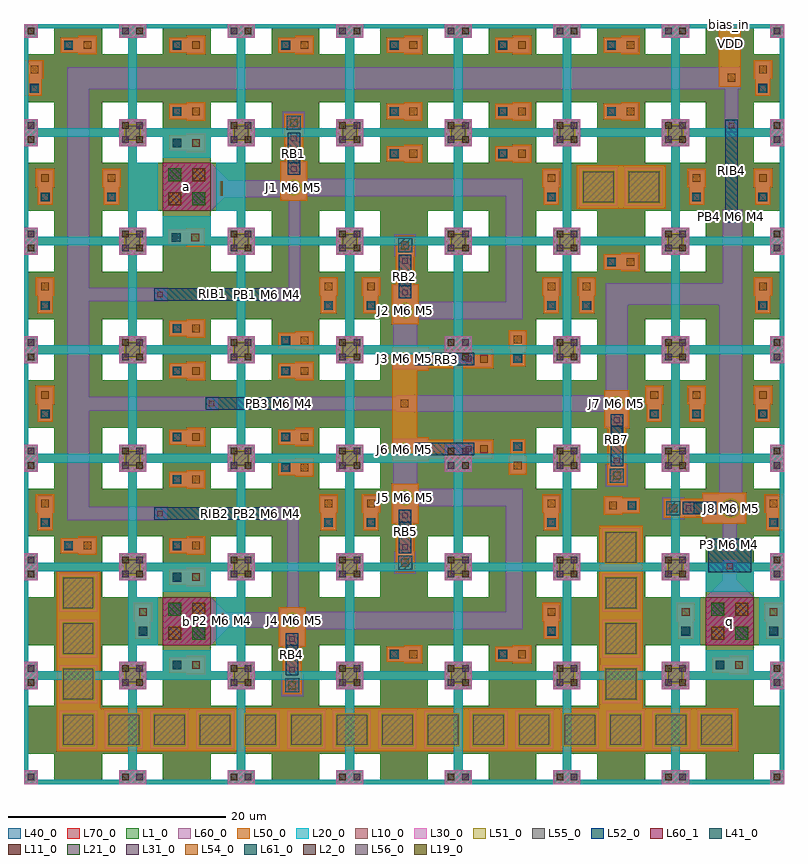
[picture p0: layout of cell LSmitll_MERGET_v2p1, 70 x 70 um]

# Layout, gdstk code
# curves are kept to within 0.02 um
from math import pi, radians
import gdstk
lib = gdstk.Library(unit=1e-6, precision=1e-09)
def R(c, l, rs):  # rectangles x0, y0, x1, y1
    for r in rs: c.add(gdstk.rectangle(r[:2], r[2:], *l))
def A(c, l, x, y, w, h, nx, ny, dx, dy):  # array of equal rectangles
    R(c, l, [(x+i*dx, y+j*dy, x+i*dx+w, y+j*dy+h) for i in range(nx) for j in range(ny)])
def P(c, l, *ps):  # polygons
    for p in ps: c.add(gdstk.Polygon(p, *l))
L1_0 = (1, 0)
L2_0 = (2, 0)
L10_0 = (10, 0)
L11_0 = (11, 0)
L19_0 = (19, 0)
L20_0 = (20, 0)
L21_0 = (21, 0)
L30_0 = (30, 0)
L31_0 = (31, 0)
L40_0 = (40, 0)
L41_0 = (41, 0)
L50_0 = (50, 0)
L51_0 = (51, 0)
L52_0 = (52, 0)
L54_0 = (54, 0)
L55_0 = (55, 0)
L56_0 = (56, 0)
L60_0 = (60, 0)
L60_1 = (60, 1)
L61_0 = (61, 0)
L70_0 = (70, 0)

ls_fakejj_3x3um = lib.new_cell('ls_fakeJJ_3x3um')
R(ls_fakejj_3x3um, L40_0, [(-2,-2,2,2)])
R(ls_fakejj_3x3um, L50_0, [(-2,-2,2,2)])
R(ls_fakejj_3x3um, L51_0, [(-1.5,-1.5,1.5,1.5)])
R(ls_fakejj_3x3um, L55_0, [(-1.4,-1.4,1.4,1.4)])
R(ls_fakejj_3x3um, L60_0, [(-1.75,-1.75,1.75,1.75)])

ls_conn_m4m5m6m7 = lib.new_cell('ls_conn_M4M5M6M7')
R(ls_conn_m4m5m6m7, L40_0, [(0,0,1.4,1.4)])
R(ls_conn_m4m5m6m7, L41_0, [(0.3,0.3,1.1,1.1)])
P(ls_conn_m4m5m6m7, L50_0, [(1.6,-0.15),(1.6,0),(0,0),(0,1.4),(1.6,1.4),(1.6,1.55),(3.3,1.55),(3.3,-0.15)])
R(ls_conn_m4m5m6m7, L54_0, [(2.1,0.35,2.8,1.05)])
R(ls_conn_m4m5m6m7, L60_0, [(0,0,3.15,1.4)])
R(ls_conn_m4m5m6m7, L61_0, [(0.35,0.35,1.05,1.05)])
R(ls_conn_m4m5m6m7, L70_0, [(0,0,1.4,1.4)])

ls_tr_m7 = lib.new_cell('ls_tr_m7')
P(ls_tr_m7, L70_0, [(0,0),(0,10),(1.25,10),(1.25,8.75),(0.4,8.75),(0.4,1.25),(1.25,1.25),(1.25,0.4),(2.8,0.4),(2.8,2.8),(0.4,2.8),(0.4,7.2),(2.8,7.2),(2.8,9.6),(1.25,9.6),(1.25,10),(7.2,10),(7.2,0.4),(8.75,0.4),(8.75,1.25),(9.6,1.25),(9.6,2.8),(7.2,2.8),(7.2,7.2),(9.6,7.2),(9.6,8.75),(8.75,8.75),(8.75,9.6),(7.2,9.6),(7.2,10),(10,10),(10,0)])

ls_conn_m5m6m7 = lib.new_cell('ls_conn_M5M6M7')
R(ls_conn_m5m6m7, L50_0, [(-0.5,-0.5,1.2,1.2)])
R(ls_conn_m5m6m7, L54_0, [(0,0,0.7,0.7)])
R(ls_conn_m5m6m7, L60_0, [(-0.65,-0.65,1.35,1.35)])
R(ls_conn_m5m6m7, L61_0, [(-0.3,-0.3,1,1)])
R(ls_conn_m5m6m7, L70_0, [(-0.65,-0.65,1.35,1.35)])

ls_jj154sg = lib.new_cell('ls_jj154sg')
R(ls_jj154sg, L41_0, [(-0.5,2.225,0.5,3.225)])
R(ls_jj154sg, L50_0, [(-1.25,-1.25,1.25,2.425), (-0.875,2.425,0.875,6.875)])
P(ls_jj154sg, L51_0, [(0,-0.72),(-0.275,-0.665),(-0.51,-0.51),(-0.665,-0.275),(-0.72,0),(-0.665,0.275),(-0.51,0.51),(-0.275,0.665),(0,0.72),(0.275,0.665),(0.51,0.51),(0.665,0.275),(0.72,0),(0.665,-0.275),(0.51,-0.51),(0.275,-0.665)])
R(ls_jj154sg, L52_0, [(-0.575,1.15,0.575,5.125)])
P(ls_jj154sg, L55_0, [(0,-0.57),(-0.22,-0.53),(-0.49,-0.32),(-0.57,0),(-0.49,0.32),(-0.32,0.48),(-0.22,0.53),(0,0.57),(0.22,0.53),(0.4,0.41),(0.49,0.32),(0.57,0),(0.49,-0.32),(0.22,-0.53)])
R(ls_jj154sg, L56_0, [(-0.26,1.42,0.26,1.94), (-0.26,4.34,0.26,4.86)])
R(ls_jj154sg, L60_0, [(-1.1,-1.1,1.1,2.325), (-0.725,3.95,0.725,6.725)])
ls_jj154sg.add(gdstk.Reference(ls_conn_m5m6m7, (-0.35,5.675)))

ls_jj095s = lib.new_cell('ls_jj095s')
R(ls_jj095s, L50_0, [(-1.1,-1.1,1.1,2.275), (-0.875,2.275,0.875,8.225)])
P(ls_jj095s, L51_0, [(0,-0.575),(-0.22,-0.53),(-0.405,-0.405),(-0.53,-0.22),(-0.575,0),(-0.53,0.22),(-0.405,0.405),(-0.22,0.53),(0,0.57),(0.22,0.53),(0.405,0.405),(0.53,0.22),(0.575,0),(0.53,-0.22),(0.405,-0.405),(0.22,-0.53)])
R(ls_jj095s, L52_0, [(-0.575,1,0.575,6.475)])
R(ls_jj095s, L54_0, [(-0.35,7,0.35,7.7)])
P(ls_jj095s, L55_0, [(0,-0.42),(-0.25,-0.35),(-0.35,-0.23),(-0.42,-0.08),(-0.42,0.09),(-0.35,0.24),(-0.25,0.36),(-0.16,0.41),(0,0.43),(0.16,0.41),(0.25,0.36),(0.35,0.24),(0.42,0.09),(0.42,-0.08),(0.3,-0.3),(0.16,-0.39)])
R(ls_jj095s, L56_0, [(-0.26,1.27,0.26,1.79), (-0.26,5.68,0.26,6.2)])
R(ls_jj095s, L60_0, [(-0.95,-0.95,0.95,2.175), (-0.725,5.3,0.725,8.075)])

ls_ib241 = lib.new_cell('ls_ib241')
R(ls_ib241, L52_0, [(-0.575,0,0.575,7.325)])
R(ls_ib241, L56_0, [(-0.26,0.29,0.26,0.81), (-0.26,6.53,0.26,7.05)])
R(ls_ib241, L60_0, [(-0.625,-0.1,0.625,1.175), (-0.625,6.15,0.625,7.425)])

ls_jj116sg = lib.new_cell('ls_jj116sg')
R(ls_jj116sg, L41_0, [(-0.5,2.125,0.5,3.125)])
R(ls_jj116sg, L50_0, [(-1.15,-1.15,1.15,2.325), (-0.875,2.325,0.875,7.575)])
P(ls_jj116sg, L51_0, [(0,-0.63),(-0.24,-0.58),(-0.445,-0.445),(-0.58,-0.24),(-0.63,0),(-0.58,0.24),(-0.445,0.445),(-0.24,0.58),(0,0.63),(0.24,0.58),(0.445,0.445),(0.58,0.24),(0.63,0),(0.58,-0.24),(0.445,-0.445),(0.24,-0.58)])
R(ls_jj116sg, L52_0, [(-0.575,1.05,0.575,5.825)])
R(ls_jj116sg, L54_0, [(-0.35,6.35,0.35,7.05)])
P(ls_jj116sg, L55_0, [(0,-0.48),(-0.18,-0.44),(-0.34,-0.34),(-0.44,-0.18),(-0.48,0),(-0.44,0.18),(-0.34,0.34),(-0.18,0.44),(0,0.48),(0.18,0.44),(0.34,0.34),(0.44,0.18),(0.48,0),(0.44,-0.18),(0.34,-0.34),(0.18,-0.44)])
R(ls_jj116sg, L56_0, [(-0.26,1.33,0.26,1.85), (-0.26,5.03,0.26,5.55)])
R(ls_jj116sg, L60_0, [(-1,-1,1,2.225), (-0.725,4.65,0.725,7.425)])
ls_jj116sg.add(gdstk.Reference(ls_conn_m5m6m7, (-0.35,6.35)))

ls_tr_u_m4 = lib.new_cell('ls_tr_u_m4')
R(ls_tr_u_m4, L1_0, [(0,0,1.25,1.25), (1.25,0,8.75,0.4), (8.75,0,10,1.25), (0,1.25,0.4,8.75), (9.6,1.25,10,8.75), (0,8.75,1.25,10), (8.75,8.75,10,10), (1.25,9.6,8.75,10)])
P(ls_tr_u_m4, L1_0, [(2.8,0.4),(2.8,2.8),(0.4,2.8),(0.4,7.2),(2.8,7.2),(2.8,9.6),(7.2,9.6),(7.2,7.2),(9.6,7.2),(9.6,2.8),(7.2,2.8),(7.2,0.4)])
R(ls_tr_u_m4, L2_0, [(9.05,0.35,9.65,0.95), (0.35,9.05,0.95,9.65)])
R(ls_tr_u_m4, L10_0, [(0,0,1.25,1.25), (8.75,0,10,1.25), (0,8.75,1.25,10), (8.75,8.75,10,10)])
R(ls_tr_u_m4, L11_0, [(0.35,0.35,0.95,0.95), (9.05,9.05,9.65,9.65)])
R(ls_tr_u_m4, L20_0, [(0,0,1.25,1.25), (1.25,0,8.75,0.4), (8.75,0,10,1.25), (0,1.25,0.4,8.75), (9.6,1.25,10,8.75), (0,8.75,1.25,10), (8.75,8.75,10,10), (1.25,9.6,8.75,10)])
R(ls_tr_u_m4, L21_0, [(9.05,0.35,9.65,0.95), (0.35,9.05,0.95,9.65)])
R(ls_tr_u_m4, L30_0, [(0,0,1.25,1.25), (8.75,0,10,1.25), (0,8.75,1.25,10), (8.75,8.75,10,10)])
R(ls_tr_u_m4, L31_0, [(0.35,0.35,0.95,0.95), (9.05,9.05,9.65,9.65)])
R(ls_tr_u_m4, L40_0, [(0,0,1.25,1.25), (1.25,0,8.75,0.4), (8.75,0,10,1.25), (0,1.25,0.4,8.75), (9.6,1.25,10,8.75), (0,8.75,1.25,10), (8.75,8.75,10,10), (1.25,9.6,8.75,10)])
P(ls_tr_u_m4, L40_0, [(2.8,0.4),(2.8,2.8),(0.4,2.8),(0.4,7.2),(2.8,7.2),(2.8,9.6),(7.2,9.6),(7.2,7.2),(9.6,7.2),(9.6,2.8),(7.2,2.8),(7.2,0.4)])

ls_conn_m5m6 = lib.new_cell('ls_conn_M5M6')
R(ls_conn_m5m6, L50_0, [(0,0,1.7,1.7)])
R(ls_conn_m5m6, L54_0, [(0.5,0.5,1.2,1.2)])
R(ls_conn_m5m6, L60_0, [(0.15,0.15,1.55,1.55)])

ls_fakejj_1p5x1p5um = lib.new_cell('ls_FakeJJ_1p5x1p5um')
R(ls_fakejj_1p5x1p5um, L40_0, [(-1.25,-1.25,1.25,1.25)])
R(ls_fakejj_1p5x1p5um, L50_0, [(-1.25,-1.25,1.25,1.25)])
R(ls_fakejj_1p5x1p5um, L51_0, [(-0.75,-0.75,0.75,0.75)])
R(ls_fakejj_1p5x1p5um, L55_0, [(-0.65,-0.65,0.65,0.65)])
R(ls_fakejj_1p5x1p5um, L60_0, [(-1,-1,1,1)])

ls_ib176 = lib.new_cell('ls_ib176')
R(ls_ib176, L52_0, [(-0.575,0,0.575,9.5)])
R(ls_ib176, L56_0, [(-0.26,0.29,0.26,0.81), (-0.26,8.7,0.26,9.22)])
R(ls_ib176, L60_0, [(-0.625,-0.1,0.625,1.175), (-0.625,8.325,0.625,9.6)])

ls_ib148 = lib.new_cell('ls_ib148')
R(ls_ib148, L52_0, [(-0.575,0,0.575,10.975)])
R(ls_ib148, L56_0, [(-0.26,0.29,0.26,0.81), (-0.26,10.17,0.26,10.69)])
R(ls_ib148, L60_0, [(-0.625,-0.1,0.625,1.175), (-0.625,9.8,0.625,11.075)])

ls_jj160sg = lib.new_cell('ls_jj160sg')
R(ls_jj160sg, L41_0, [(-0.5,2.225,0.5,3.225)])
R(ls_jj160sg, L50_0, [(-1.25,-1.25,1.25,2.425), (-0.875,2.425,0.875,6.8)])
P(ls_jj160sg, L51_0, [(0,-0.735),(-0.28,-0.68),(-0.52,-0.52),(-0.68,-0.28),(-0.735,0),(-0.68,0.28),(-0.52,0.52),(-0.28,0.68),(0,0.735),(0.28,0.68),(0.52,0.52),(0.68,0.28),(0.735,0),(0.68,-0.28),(0.52,-0.52),(0.28,-0.68)])
R(ls_jj160sg, L52_0, [(-0.575,1.15,0.575,5.05)])
P(ls_jj160sg, L55_0, [(0,-0.58),(-0.22,-0.54),(-0.41,-0.41),(-0.54,-0.22),(-0.58,0),(-0.54,0.23),(-0.41,0.42),(-0.22,0.54),(0,0.59),(0.22,0.54),(0.41,0.42),(0.54,0.23),(0.58,0),(0.54,-0.22),(0.41,-0.41),(0.22,-0.54)])
R(ls_jj160sg, L56_0, [(-0.26,1.43,0.26,1.95), (-0.26,4.26,0.26,4.78)])
R(ls_jj160sg, L60_0, [(-1.1,-1.1,1.1,2.325), (-0.725,3.875,0.725,6.65)])
ls_jj160sg.add(gdstk.Reference(ls_conn_m5m6m7, (-0.35,5.6)))

ls_tr_ptlconnection = lib.new_cell('ls_tr_PTLconnection')
P(ls_tr_ptlconnection, L1_0, [(0,0),(0,10),(1.25,10),(1.25,8.75),(0.4,8.75),(0.4,1.25),(1.25,1.25),(1.25,0.4),(2.8,0.4),(2.8,2.8),(0.4,2.8),(0.4,7.2),(2.8,7.2),(2.8,9.6),(1.25,9.6),(1.25,10),(7.2,10),(7.2,0.4),(8.75,0.4),(8.75,1.25),(9.6,1.25),(9.6,2.8),(7.2,2.8),(7.2,7.2),(9.6,7.2),(9.6,8.75),(8.75,8.75),(8.75,9.6),(7.2,9.6),(7.2,10),(10,10),(10,0)])
R(ls_tr_ptlconnection, L2_0, [(9.05,0.35,9.65,0.95), (0.35,9.05,0.95,9.65)])
R(ls_tr_ptlconnection, L10_0, [(0,0,1.25,1.25), (8.75,0,10,1.25), (2.8,2.8,7.2,7.2), (0,8.75,1.25,10), (8.75,8.75,10,10)])
R(ls_tr_ptlconnection, L11_0, [(0.35,0.35,0.95,0.95), (3.3,3.3,4.5,4.5), (5.5,5.5,6.7,6.7), (9.05,9.05,9.65,9.65)])
R(ls_tr_ptlconnection, L20_0, [(2.8,2.8,7.2,7.2)])
P(ls_tr_ptlconnection, L20_0, [(0,0),(0,10),(7.2,10),(7.2,7.7),(2.8,7.7),(2.8,9.6),(1.25,9.6),(1.25,8.75),(0.4,8.75),(0.4,7.2),(2.3,7.2),(2.3,2.8),(0.4,2.8),(0.4,1.25),(1.25,1.25),(1.25,0.4),(2.8,0.4),(2.8,2.3),(7.2,2.3),(7.2,0.4),(8.75,0.4),(8.75,1.25),(9.6,1.25),(9.6,2.8),(7.7,2.8),(7.7,7.2),(9.6,7.2),(9.6,8.75),(8.75,8.75),(8.75,9.6),(7.2,9.6),(7.2,10),(10,10),(10,0)])
R(ls_tr_ptlconnection, L21_0, [(9.05,0.35,9.65,0.95), (5.5,3.3,6.7,4.5), (3.3,5.5,4.5,6.7), (0.35,9.05,0.95,9.65)])
R(ls_tr_ptlconnection, L30_0, [(0,0,1.25,1.25), (8.75,0,10,1.25), (2.8,2.8,7.2,7.2), (0,8.75,1.25,10), (8.75,8.75,10,10)])
R(ls_tr_ptlconnection, L31_0, [(0.35,0.35,0.95,0.95), (3.3,3.3,4.5,4.5), (5.5,5.5,6.7,6.7), (9.05,9.05,9.65,9.65)])
R(ls_tr_ptlconnection, L40_0, [(2.8,2.8,7.2,7.2)])
P(ls_tr_ptlconnection, L40_0, [(0,0),(0,10),(7.2,10),(7.2,7.7),(2.8,7.7),(2.8,9.6),(1.25,9.6),(1.25,8.75),(0.4,8.75),(0.4,7.2),(2.3,7.2),(2.3,2.8),(0.4,2.8),(0.4,1.25),(1.25,1.25),(1.25,0.4),(2.8,0.4),(2.8,2.3),(7.2,2.3),(7.2,0.4),(8.75,0.4),(8.75,1.25),(9.6,1.25),(9.6,2.8),(7.7,2.8),(7.7,7.2),(9.6,7.2),(9.6,8.75),(8.75,8.75),(8.75,9.6),(7.2,9.6),(7.2,10),(10,10),(10,0)])
R(ls_tr_ptlconnection, L41_0, [(5.5,3.3,6.7,4.5), (3.3,5.5,4.5,6.7)])
R(ls_tr_ptlconnection, L50_0, [(2.8,2.8,7.2,7.2)])
R(ls_tr_ptlconnection, L54_0, [(3.3,3.3,4.5,4.5), (5.5,5.5,6.7,6.7)])
R(ls_tr_ptlconnection, L60_0, [(2.8,2.8,7.2,7.2)])
P(ls_tr_ptlconnection, L70_0, [(0,0),(0,10),(1.25,10),(1.25,8.75),(0.4,8.75),(0.4,1.25),(1.25,1.25),(1.25,0.4),(2.8,0.4),(2.8,2.8),(0.4,2.8),(0.4,7.2),(2.8,7.2),(2.8,9.6),(1.25,9.6),(1.25,10),(7.2,10),(7.2,0.4),(8.75,0.4),(8.75,1.25),(9.6,1.25),(9.6,2.8),(7.2,2.8),(7.2,7.2),(9.6,7.2),(9.6,8.75),(8.75,8.75),(8.75,9.6),(7.2,9.6),(7.2,10),(10,10),(10,0)])

ls_jj250sg = lib.new_cell('ls_jj250sg')
R(ls_jj250sg, L41_0, [(-0.5,2.4,0.5,3.4)])
R(ls_jj250sg, L50_0, [(-1.425,-1.425,1.425,2.625), (-0.875,2.625,0.875,6.175)])
P(ls_jj250sg, L51_0, [(0,-0.91),(-0.18,-0.895),(-0.35,-0.84),(-0.645,-0.645),(-0.84,-0.35),(-0.91,0),(-0.895,0.18),(-0.84,0.35),(-0.645,0.645),(-0.35,0.84),(-0.18,0.895),(0,0.91),(0.18,0.895),(0.35,0.84),(0.645,0.645),(0.84,0.35),(0.895,0.18),(0.91,0),(0.84,-0.35),(0.645,-0.645),(0.35,-0.84),(0.18,-0.895)])
R(ls_jj250sg, L52_0, [(-0.575,1.35,0.575,4.425)])
R(ls_jj250sg, L54_0, [(-0.35,4.95,0.35,5.65)])
P(ls_jj250sg, L55_0, [(0,-0.76),(-0.15,-0.75),(-0.29,-0.7),(-0.54,-0.54),(-0.7,-0.29),(-0.75,-0.15),(-0.76,0),(-0.75,0.15),(-0.7,0.29),(-0.54,0.54),(-0.29,0.7),(-0.15,0.75),(0,0.76),(0.15,0.75),(0.29,0.7),(0.54,0.54),(0.7,0.29),(0.75,0.15),(0.76,0),(0.75,-0.15),(0.7,-0.29),(0.54,-0.54),(0.29,-0.7),(0.15,-0.75)])
R(ls_jj250sg, L56_0, [(-0.26,1.64,0.26,2.16), (-0.26,3.63,0.26,4.15)])
R(ls_jj250sg, L60_0, [(-1.275,-1.275,1.275,2.525), (-0.725,3.25,0.725,6.025)])
ls_jj250sg.add(gdstk.Reference(ls_conn_m5m6m7, (-0.35,4.95)))

ls_res_1p36 = lib.new_cell('ls_res_1p36')
R(ls_res_1p36, L52_0, [(-2,0,2,3.1)])
R(ls_res_1p36, L56_0, [(-0.26,0.29,0.26,0.81), (-0.26,2.3,0.26,2.82)])
R(ls_res_1p36, L60_0, [(-0.625,-0.1,0.625,1.175), (-0.625,1.925,0.625,3.2)])

lsmitll_merget_v2p1 = lib.new_cell('LSmitll_MERGET_v2p1')
R(lsmitll_merget_v2p1, L1_0, [(37.2,27.2,42.8,32.8), (37.2,37.2,42.8,42.8)])
R(lsmitll_merget_v2p1, L19_0, [(64.74,21.8,65.26,22.32), (22.14,24.64,22.66,25.16), (23.24,34.79,23.76,35.31), (22.14,44.84,22.66,45.36), (64.89,51.99,65.41,52.51)])
R(lsmitll_merget_v2p1, L40_0, [(37.2,27.2,42.8,32.8), (37.2,37.2,42.8,42.8)])
A(lsmitll_merget_v2p1, L50_0, 7, 3, 0.2, 4, 14, 1, 4.2, 0)
A(lsmitll_merget_v2p1, L50_0, 3, 7, 4, 0.2, 1, 3, 0, 4.2)
A(lsmitll_merget_v2p1, L50_0, 53, 7, 4, 0.2, 1, 4, 0, 4.2)
R(lsmitll_merget_v2p1, L50_0, [(69.75,13.375,70,16.675), (69.75,23.375,70,26.675), (33.9,30.425,36.225,39.8), (54.9,53,55.1,57), (0,63.375,0.25,66.675), (64,64.2,66,70)])
R(lsmitll_merget_v2p1, L60_0, [(69.75,13.375,70,16.525), (17.2,14.375,23.9,15.8), (24.25,16.1,25.325,25.45), (64.375,17.1,65.625,19.425), (64.375,22.55,65.625,24.35), (69.75,23.375,70,26.525), (4,24.275,6,66), (5.975,24.275,12.025,25.525), (23.05,24.275,25.325,25.525), (34,29.9,36.2,31.8), (5.65,34.4,17.4,35.65), (24.125,34.425,34.35,35.675), (34,38.2,36.2,40.1), (64.375,44.375,66.175,52.875), (5.95,44.475,11.925,45.725), (23.05,44.475,25.449,45.725), (24.375,44.475,25.45,53.9), (17.2,54.05,23.776,55.625), (64.525,60.575,65.775,64.375), (0,63.375,0.25,66.525), (4,64,66,66)])
P(lsmitll_merget_v2p1, L60_0, [(62.8,17.2),(65,19.4),(67.2,17.2)],
  [(17.2,12.8),(17.2,17.2),(19.4,15)],
  [(17.2,52.8),(17.2,57.2),(19.4,55)])
R(lsmitll_merget_v2p1, L60_1, [(12.8,12.8,17.2,17.2), (62.8,12.8,67.2,17.2), (12.8,52.8,17.2,57.2)])
R(lsmitll_merget_v2p1, L70_0, [(37.2,27.2,42.8,32.8), (37.2,37.2,42.8,42.8)])
lsmitll_merget_v2p1.add(gdstk.FlexPath([(35.1,42.6),(35.1,40.1)], 2.2, ends="flush", simple_path=True, layer=60, datatype=0))  # L60_0
lsmitll_merget_v2p1.add(gdstk.FlexPath([(34.35,35.05),(53.775,35.05)], 1.55, ends="flush", simple_path=True, layer=60, datatype=0))  # L60_0
lsmitll_merget_v2p1.add(gdstk.FlexPath([(54.6,35.55),(54.6,45.125),(65.625,45.125)], 2, ends="flush", simple_path=True, layer=60, datatype=0))  # L60_0
lsmitll_merget_v2p1.add(gdstk.FlexPath([(65.1,26.225),(65.1,45.125)], 2.15, ends="flush", simple_path=True, layer=60, datatype=0))  # L60_0
lsmitll_merget_v2p1.add(gdstk.FlexPath([(25.4,54.95),(45.15,54.95),(45.15,43.6),(36.1,43.6)], 1.6, ends="flush", simple_path=True, layer=60, datatype=0))  # L60_0
lsmitll_merget_v2p1.add(gdstk.FlexPath([(25.4,15.05),(45.15,15.05),(45.15,26.4),(36.1,26.4)], 1.6, ends="flush", simple_path=True, layer=60, datatype=0))  # L60_0
lsmitll_merget_v2p1.add(gdstk.FlexPath([(35.1,29.9),(35.1,27.4)], 2.2, ends="flush", simple_path=True, layer=60, datatype=0))  # L60_0
lsmitll_merget_v2p1.add(gdstk.FlexPath([(18.2,55.5),(18.2,54.175)], 0.2, ends="flush", simple_path=True, layer=19, datatype=0))  # L19_0
lsmitll_merget_v2p1.add(gdstk.FlexPath([(18.3,15.7),(18.3,14.475)], 0.2, ends="flush", simple_path=True, layer=19, datatype=0))  # L19_0
lsmitll_merget_v2p1.add(gdstk.Reference(ls_fakejj_3x3um, (34.4,5)))
lsmitll_merget_v2p1.add(gdstk.Reference(ls_conn_m4m5m6m7, (33.4,61.25)))
lsmitll_merget_v2p1.add(gdstk.Reference(ls_tr_m7, (30,60)))
lsmitll_merget_v2p1.add(gdstk.Reference(ls_tr_m7, (30,50)))
lsmitll_merget_v2p1.add(gdstk.Reference(ls_tr_m7, (30,40)))
lsmitll_merget_v2p1.add(gdstk.Reference(ls_tr_m7, (0,30)))
lsmitll_merget_v2p1.add(gdstk.Reference(ls_tr_m7, (10,30)))
lsmitll_merget_v2p1.add(gdstk.Reference(ls_tr_m7, (20,30)))
lsmitll_merget_v2p1.add(gdstk.Reference(ls_tr_m7, (30,30)))
lsmitll_merget_v2p1.add(gdstk.Reference(ls_tr_m7, (40,30)))
lsmitll_merget_v2p1.add(gdstk.Reference(ls_tr_m7, (50,30)))
lsmitll_merget_v2p1.add(gdstk.Reference(ls_tr_m7, (60,30)))
lsmitll_merget_v2p1.add(gdstk.Reference(ls_tr_m7, (30,20)))
lsmitll_merget_v2p1.add(gdstk.Reference(ls_tr_m7, (30,10)))
lsmitll_merget_v2p1.add(gdstk.Reference(ls_tr_m7, (30,0)))
lsmitll_merget_v2p1.add(gdstk.Reference(ls_jj154sg, (35.1,43.6), rotation=pi, x_reflection=True))
lsmitll_merget_v2p1.add(gdstk.Reference(ls_jj095s, (35,39.15), rotation=pi/2, x_reflection=True))
lsmitll_merget_v2p1.add(gdstk.Reference(ls_ib241, (24.05,35.05), rotation=pi/2))
lsmitll_merget_v2p1.add(gdstk.Reference(ls_jj116sg, (54.6,35.1), rotation=pi))
lsmitll_merget_v2p1.add(gdstk.Reference(ls_jj095s, (35,30.85), rotation=3*pi/2))
lsmitll_merget_v2p1.add(gdstk.Reference(ls_jj154sg, (35.1,26.4), rotation=pi))
lsmitll_merget_v2p1.add(gdstk.Reference(ls_tr_u_m4, (0,30)))
lsmitll_merget_v2p1.add(gdstk.Reference(ls_tr_u_m4, (10,30)))
lsmitll_merget_v2p1.add(gdstk.Reference(ls_tr_u_m4, (20,30)))
lsmitll_merget_v2p1.add(gdstk.Reference(ls_tr_u_m4, (30,0)))
lsmitll_merget_v2p1.add(gdstk.Reference(ls_tr_u_m4, (30,10)))
lsmitll_merget_v2p1.add(gdstk.Reference(ls_tr_u_m4, (30,20)))
lsmitll_merget_v2p1.add(gdstk.Reference(ls_tr_u_m4, (30,30)))
lsmitll_merget_v2p1.add(gdstk.Reference(ls_tr_u_m4, (30,40)))
lsmitll_merget_v2p1.add(gdstk.Reference(ls_tr_u_m4, (30,50)))
lsmitll_merget_v2p1.add(gdstk.Reference(ls_tr_u_m4, (30,60)))
lsmitll_merget_v2p1.add(gdstk.Reference(ls_tr_u_m4, (40,30)))
lsmitll_merget_v2p1.add(gdstk.Reference(ls_tr_u_m4, (50,30)))
lsmitll_merget_v2p1.add(gdstk.Reference(ls_tr_u_m4, (60,30)))
lsmitll_merget_v2p1.add(gdstk.Reference(ls_conn_m5m6, (34.2,34.2)))
lsmitll_merget_v2p1.add(gdstk.Reference(ls_conn_m4m5m6m7, (33.4,57.35)))
lsmitll_merget_v2p1.add(gdstk.Reference(ls_conn_m4m5m6m7, (33.4,67.35)))
lsmitll_merget_v2p1.add(gdstk.Reference(ls_conn_m4m5m6m7, (2.65,33.375), rotation=pi/2))
lsmitll_merget_v2p1.add(gdstk.Reference(ls_conn_m4m5m6m7, (33.4,11.25)))
lsmitll_merget_v2p1.add(gdstk.Reference(ls_conn_m4m5m6m7, (68.75,33.375), rotation=pi/2))
lsmitll_merget_v2p1.add(gdstk.Reference(ls_conn_m4m5m6m7, (62.65,33.375), rotation=pi/2))
lsmitll_merget_v2p1.add(gdstk.Reference(ls_conn_m4m5m6m7, (58.75,33.375), rotation=pi/2))
lsmitll_merget_v2p1.add(gdstk.Reference(ls_tr_m7, (40,40)))
lsmitll_merget_v2p1.add(gdstk.Reference(ls_fakejj_1p5x1p5um, (50,40)))
lsmitll_merget_v2p1.add(gdstk.Reference(ls_ib176, (65.15,51.7)))
lsmitll_merget_v2p1.add(gdstk.Reference(ls_tr_u_m4, (40,60)))
lsmitll_merget_v2p1.add(gdstk.Reference(ls_tr_u_m4, (40,50)))
lsmitll_merget_v2p1.add(gdstk.Reference(ls_tr_u_m4, (40,40)))
lsmitll_merget_v2p1.add(gdstk.Reference(ls_tr_m7, (60,60)))
lsmitll_merget_v2p1.add(gdstk.Reference(ls_tr_m7, (50,60)))
lsmitll_merget_v2p1.add(gdstk.Reference(ls_tr_u_m4, (50,40)))
lsmitll_merget_v2p1.add(gdstk.Reference(ls_tr_u_m4, (50,50)))
lsmitll_merget_v2p1.add(gdstk.Reference(ls_tr_u_m4, (50,60)))
lsmitll_merget_v2p1.add(gdstk.Reference(ls_tr_u_m4, (60,60)))
lsmitll_merget_v2p1.add(gdstk.Reference(ls_tr_u_m4, (60,50)))
lsmitll_merget_v2p1.add(gdstk.Reference(ls_tr_u_m4, (60,40)))
lsmitll_merget_v2p1.add(gdstk.Reference(ls_tr_m7, (40,60)))
lsmitll_merget_v2p1.add(gdstk.Reference(ls_fakejj_1p5x1p5um, (60,40)))
lsmitll_merget_v2p1.add(gdstk.Reference(ls_fakejj_1p5x1p5um, (40,50)))
lsmitll_merget_v2p1.add(gdstk.Reference(ls_conn_m4m5m6m7, (43.4,57.35)))
lsmitll_merget_v2p1.add(gdstk.Reference(ls_conn_m4m5m6m7, (43.4,61.25)))
lsmitll_merget_v2p1.add(gdstk.Reference(ls_conn_m4m5m6m7, (53.4,61.25)))
lsmitll_merget_v2p1.add(gdstk.Reference(ls_conn_m4m5m6m7, (53.4,67.35)))
lsmitll_merget_v2p1.add(gdstk.Reference(ls_conn_m4m5m6m7, (43.4,67.35)))
lsmitll_merget_v2p1.add(gdstk.Reference(ls_tr_m7, (40,50)))
lsmitll_merget_v2p1.add(gdstk.Reference(ls_tr_m7, (50,50)))
lsmitll_merget_v2p1.add(gdstk.Reference(ls_tr_m7, (60,50)))
lsmitll_merget_v2p1.add(gdstk.Reference(ls_conn_m4m5m6m7, (49.275,53.375), rotation=pi/2))
lsmitll_merget_v2p1.add(gdstk.Reference(ls_conn_m4m5m6m7, (49.275,43.375), rotation=pi/2))
lsmitll_merget_v2p1.add(gdstk.Reference(ls_fakejj_3x3um, (52.9,55)))
lsmitll_merget_v2p1.add(gdstk.Reference(ls_conn_m4m5m6m7, (46.175,38.5), rotation=pi/2))
lsmitll_merget_v2p1.add(gdstk.Reference(ls_conn_m4m5m6m7, (68.75,53.375), rotation=pi/2))
lsmitll_merget_v2p1.add(gdstk.Reference(ls_conn_m4m5m6m7, (62.65,53.375), rotation=pi/2))
lsmitll_merget_v2p1.add(gdstk.Reference(ls_conn_m4m5m6m7, (68.75,43.375), rotation=pi/2))
lsmitll_merget_v2p1.add(gdstk.Reference(ls_tr_m7, (60,40)))
lsmitll_merget_v2p1.add(gdstk.Reference(ls_tr_m7, (50,40)))
lsmitll_merget_v2p1.add(gdstk.Reference(ls_conn_m5m6, (64.3,64.2)))
lsmitll_merget_v2p1.add(gdstk.Reference(ls_conn_m4m5m6m7, (53.4,47.375)))
lsmitll_merget_v2p1.add(gdstk.Reference(ls_conn_m4m5m6m7, (52.525,43.375), rotation=pi/2))
lsmitll_merget_v2p1.add(gdstk.Reference(ls_fakejj_1p5x1p5um, (40,60)))
lsmitll_merget_v2p1.add(gdstk.Reference(ls_fakejj_1p5x1p5um, (50,60)))
lsmitll_merget_v2p1.add(gdstk.Reference(ls_fakejj_1p5x1p5um, (60,60)))
lsmitll_merget_v2p1.add(gdstk.Reference(ls_fakejj_1p5x1p5um, (60,50)))
lsmitll_merget_v2p1.add(gdstk.Reference(ls_fakejj_1p5x1p5um, (50,50)))
lsmitll_merget_v2p1.add(gdstk.Reference(ls_conn_m4m5m6m7, (68.75,63.375), rotation=pi/2))
lsmitll_merget_v2p1.add(gdstk.Reference(ls_fakejj_3x3um, (57.1,55)))
lsmitll_merget_v2p1.add(gdstk.Reference(ls_tr_u_m4, (20,40)))
lsmitll_merget_v2p1.add(gdstk.Reference(ls_conn_m4m5m6m7, (13.4,61.25)))
lsmitll_merget_v2p1.add(gdstk.Reference(ls_conn_m4m5m6m7, (13.4,58.35)))
lsmitll_merget_v2p1.add(gdstk.Reference(ls_conn_m4m5m6m7, (13.4,67.35)))
lsmitll_merget_v2p1.add(gdstk.Reference(ls_conn_m4m5m6m7, (13.4,41.25)))
lsmitll_merget_v2p1.add(gdstk.Reference(ls_conn_m4m5m6m7, (13.4,37.35)))
lsmitll_merget_v2p1.add(gdstk.Reference(ls_fakejj_1p5x1p5um, (30,50)))
lsmitll_merget_v2p1.add(gdstk.Reference(ls_conn_m4m5m6m7, (23.4,67.35)))
lsmitll_merget_v2p1.add(gdstk.Reference(ls_conn_m4m5m6m7, (1.65,63.375), rotation=pi/2))
lsmitll_merget_v2p1.add(gdstk.Reference(ls_conn_m4m5m6m7, (3.4,67.35)))
lsmitll_merget_v2p1.add(gdstk.Reference(ls_conn_m4m5m6m7, (2.65,53.375), rotation=pi/2))
lsmitll_merget_v2p1.add(gdstk.Reference(ls_conn_m4m5m6m7, (8.75,53.375), rotation=pi/2))
lsmitll_merget_v2p1.add(gdstk.Reference(ls_conn_m4m5m6m7, (2.65,43.375), rotation=pi/2))
lsmitll_merget_v2p1.add(gdstk.Reference(ls_tr_m7, (20,60)))
lsmitll_merget_v2p1.add(gdstk.Reference(ls_conn_m4m5m6m7, (32.65,43.375), rotation=pi/2))
lsmitll_merget_v2p1.add(gdstk.Reference(ls_conn_m4m5m6m7, (28.75,43.375), rotation=pi/2))
lsmitll_merget_v2p1.add(gdstk.Reference(ls_tr_m7, (10,60)))
lsmitll_merget_v2p1.add(gdstk.Reference(ls_tr_m7, (20,40)))
lsmitll_merget_v2p1.add(gdstk.Reference(ls_tr_m7, (10,40)))
lsmitll_merget_v2p1.add(gdstk.Reference(ls_ib148, (22.95,45.1), rotation=3*pi/2, x_reflection=True))
lsmitll_merget_v2p1.add(gdstk.Reference(ls_jj160sg, (24.85,54.95), rotation=pi, x_reflection=True))
lsmitll_merget_v2p1.add(gdstk.Reference(ls_tr_m7, (0,40)))
lsmitll_merget_v2p1.add(gdstk.Reference(ls_tr_m7, (0,60)))
lsmitll_merget_v2p1.add(gdstk.Reference(ls_tr_ptlconnection, (10,50)))
lsmitll_merget_v2p1.add(gdstk.Reference(ls_tr_m7, (0,50)))
lsmitll_merget_v2p1.add(gdstk.Reference(ls_tr_m7, (20,50)))
lsmitll_merget_v2p1.add(gdstk.Reference(ls_conn_m4m5m6m7, (23.4,37.35)))
lsmitll_merget_v2p1.add(gdstk.Reference(ls_tr_u_m4, (0,60)))
lsmitll_merget_v2p1.add(gdstk.Reference(ls_tr_u_m4, (0,50)))
lsmitll_merget_v2p1.add(gdstk.Reference(ls_fakejj_1p5x1p5um, (10,60)))
lsmitll_merget_v2p1.add(gdstk.Reference(ls_fakejj_1p5x1p5um, (20,60)))
lsmitll_merget_v2p1.add(gdstk.Reference(ls_fakejj_1p5x1p5um, (30,60)))
lsmitll_merget_v2p1.add(gdstk.Reference(ls_tr_u_m4, (0,40)))
lsmitll_merget_v2p1.add(gdstk.Reference(ls_conn_m4m5m6m7, (13.325,49.65)))
lsmitll_merget_v2p1.add(gdstk.Reference(ls_conn_m4m5m6m7, (23.4,40.15)))
lsmitll_merget_v2p1.add(gdstk.Reference(ls_tr_u_m4, (10,40)))
lsmitll_merget_v2p1.add(gdstk.Reference(ls_tr_u_m4, (10,60)))
lsmitll_merget_v2p1.add(gdstk.Reference(ls_fakejj_1p5x1p5um, (20,50)))
lsmitll_merget_v2p1.add(gdstk.Reference(ls_fakejj_1p5x1p5um, (10,50)))
lsmitll_merget_v2p1.add(gdstk.Reference(ls_fakejj_1p5x1p5um, (10,40)))
lsmitll_merget_v2p1.add(gdstk.Reference(ls_fakejj_1p5x1p5um, (20,40)))
lsmitll_merget_v2p1.add(gdstk.Reference(ls_fakejj_1p5x1p5um, (30,40)))
lsmitll_merget_v2p1.add(gdstk.Reference(ls_tr_u_m4, (20,60)))
lsmitll_merget_v2p1.add(gdstk.Reference(ls_tr_u_m4, (20,50)))
lsmitll_merget_v2p1.add(gdstk.Reference(ls_conn_m4m5m6m7, (13.4,21.25)))
lsmitll_merget_v2p1.add(gdstk.Reference(ls_conn_m4m5m6m7, (13.4,18.35)))
lsmitll_merget_v2p1.add(gdstk.Reference(ls_conn_m4m5m6m7, (11.65,13.375), rotation=pi/2))
lsmitll_merget_v2p1.add(gdstk.Reference(ls_conn_m4m5m6m7, (13.4,10.25)))
lsmitll_merget_v2p1.add(gdstk.Reference(ls_conn_m4m5m6m7, (28.75,23.375), rotation=pi/2))
lsmitll_merget_v2p1.add(gdstk.Reference(ls_conn_m4m5m6m7, (32.65,23.375), rotation=pi/2))
lsmitll_merget_v2p1.add(gdstk.Reference(ls_tr_m7, (20,10)))
lsmitll_merget_v2p1.add(gdstk.Reference(ls_conn_m4m5m6m7, (13.4,31.25)))
lsmitll_merget_v2p1.add(gdstk.Reference(ls_fakejj_3x3um, (9.2,5)))
lsmitll_merget_v2p1.add(gdstk.Reference(ls_tr_m7, (20,0)))
lsmitll_merget_v2p1.add(gdstk.Reference(ls_tr_u_m4, (0,20)))
lsmitll_merget_v2p1.add(gdstk.Reference(ls_fakejj_3x3um, (5,13.4)))
lsmitll_merget_v2p1.add(gdstk.Reference(ls_fakejj_3x3um, (13.4,5)))
lsmitll_merget_v2p1.add(gdstk.Reference(ls_fakejj_3x3um, (21.8,5)))
lsmitll_merget_v2p1.add(gdstk.Reference(ls_fakejj_3x3um, (30.2,5)))
lsmitll_merget_v2p1.add(gdstk.Reference(ls_tr_u_m4, (0,10)))
lsmitll_merget_v2p1.add(gdstk.Reference(ls_tr_u_m4, (0,0)))
lsmitll_merget_v2p1.add(gdstk.Reference(ls_tr_u_m4, (10,0)))
lsmitll_merget_v2p1.add(gdstk.Reference(ls_tr_u_m4, (10,20)))
lsmitll_merget_v2p1.add(gdstk.Reference(ls_tr_m7, (10,0)))
lsmitll_merget_v2p1.add(gdstk.Reference(ls_tr_m7, (0,0)))
lsmitll_merget_v2p1.add(gdstk.Reference(ls_fakejj_3x3um, (17.6,5)))
lsmitll_merget_v2p1.add(gdstk.Reference(ls_fakejj_3x3um, (26,5)))
lsmitll_merget_v2p1.add(gdstk.Reference(ls_fakejj_1p5x1p5um, (30,20)))
lsmitll_merget_v2p1.add(gdstk.Reference(ls_fakejj_3x3um, (5,5)))
lsmitll_merget_v2p1.add(gdstk.Reference(ls_conn_m4m5m6m7, (23.4,31.25)))
lsmitll_merget_v2p1.add(gdstk.Reference(ls_tr_u_m4, (20,20)))
lsmitll_merget_v2p1.add(gdstk.Reference(ls_tr_u_m4, (20,10)))
lsmitll_merget_v2p1.add(gdstk.Reference(ls_tr_u_m4, (20,0)))
lsmitll_merget_v2p1.add(gdstk.Reference(ls_jj160sg, (24.7,15.05), rotation=pi))
lsmitll_merget_v2p1.add(gdstk.Reference(ls_conn_m4m5m6m7, (23.4,28.45)))
lsmitll_merget_v2p1.add(gdstk.Reference(ls_conn_m4m5m6m7, (13.4,27.35)))
lsmitll_merget_v2p1.add(gdstk.Reference(ls_ib148, (22.95,24.9), rotation=pi/2))
lsmitll_merget_v2p1.add(gdstk.Reference(ls_tr_ptlconnection, (10,10)))
lsmitll_merget_v2p1.add(gdstk.Reference(ls_tr_m7, (20,20)))
lsmitll_merget_v2p1.add(gdstk.Reference(ls_tr_m7, (10,20)))
lsmitll_merget_v2p1.add(gdstk.Reference(ls_tr_m7, (0,20)))
lsmitll_merget_v2p1.add(gdstk.Reference(ls_tr_m7, (0,10)))
lsmitll_merget_v2p1.add(gdstk.Reference(ls_fakejj_1p5x1p5um, (30,30)))
lsmitll_merget_v2p1.add(gdstk.Reference(ls_fakejj_1p5x1p5um, (20,30)))
lsmitll_merget_v2p1.add(gdstk.Reference(ls_fakejj_1p5x1p5um, (10,30)))
lsmitll_merget_v2p1.add(gdstk.Reference(ls_fakejj_1p5x1p5um, (10,20)))
lsmitll_merget_v2p1.add(gdstk.Reference(ls_fakejj_1p5x1p5um, (20,20)))
lsmitll_merget_v2p1.add(gdstk.Reference(ls_fakejj_1p5x1p5um, (30,10)))
lsmitll_merget_v2p1.add(gdstk.Reference(ls_fakejj_1p5x1p5um, (20,10)))
lsmitll_merget_v2p1.add(gdstk.Reference(ls_fakejj_1p5x1p5um, (10,10)))
lsmitll_merget_v2p1.add(gdstk.Reference(ls_conn_m4m5m6m7, (2.65,23.375), rotation=pi/2))
lsmitll_merget_v2p1.add(gdstk.Reference(ls_fakejj_3x3um, (5,9.2)))
lsmitll_merget_v2p1.add(gdstk.Reference(ls_fakejj_3x3um, (5,17.6)))
lsmitll_merget_v2p1.add(gdstk.Reference(ls_conn_m4m5m6m7, (3.4,21.25)))
lsmitll_merget_v2p1.add(gdstk.Reference(ls_tr_ptlconnection, (60,10)))
lsmitll_merget_v2p1.add(gdstk.Reference(ls_fakejj_3x3um, (47,5)))
lsmitll_merget_v2p1.add(gdstk.Reference(ls_conn_m4m5m6m7, (44.775,31.775), rotation=3*pi/2))
lsmitll_merget_v2p1.add(gdstk.Reference(ls_fakejj_3x3um, (55.4,5)))
lsmitll_merget_v2p1.add(gdstk.Reference(ls_conn_m4m5m6m7, (69.75,13.375), rotation=pi/2))
lsmitll_merget_v2p1.add(gdstk.Reference(ls_conn_m4m5m6m7, (63.4,10.25)))
lsmitll_merget_v2p1.add(gdstk.Reference(ls_tr_u_m4, (40,20)))
lsmitll_merget_v2p1.add(gdstk.Reference(ls_tr_u_m4, (40,10)))
lsmitll_merget_v2p1.add(gdstk.Reference(ls_tr_u_m4, (40,0)))
lsmitll_merget_v2p1.add(gdstk.Reference(ls_tr_u_m4, (50,0)))
lsmitll_merget_v2p1.add(gdstk.Reference(ls_tr_u_m4, (50,10)))
lsmitll_merget_v2p1.add(gdstk.Reference(ls_tr_u_m4, (50,20)))
lsmitll_merget_v2p1.add(gdstk.Reference(ls_conn_m4m5m6m7, (61.65,13.375), rotation=pi/2))
lsmitll_merget_v2p1.add(gdstk.Reference(ls_conn_m4m5m6m7, (69.75,23.375), rotation=pi/2))
lsmitll_merget_v2p1.add(gdstk.Reference(ls_fakejj_1p5x1p5um, (40,20)))
lsmitll_merget_v2p1.add(gdstk.Reference(ls_tr_m7, (40,10)))
lsmitll_merget_v2p1.add(gdstk.Reference(ls_tr_m7, (50,10)))
lsmitll_merget_v2p1.add(gdstk.Reference(ls_tr_m7, (60,0)))
lsmitll_merget_v2p1.add(gdstk.Reference(ls_jj250sg, (65.1,25.4), rotation=pi/2))
lsmitll_merget_v2p1.add(gdstk.Reference(ls_tr_m7, (50,0)))
lsmitll_merget_v2p1.add(gdstk.Reference(ls_tr_u_m4, (60,20)))
lsmitll_merget_v2p1.add(gdstk.Reference(ls_tr_u_m4, (60,0)))
lsmitll_merget_v2p1.add(gdstk.Reference(ls_conn_m4m5m6m7, (43.4,11.25)))
lsmitll_merget_v2p1.add(gdstk.Reference(ls_tr_m7, (40,0)))
lsmitll_merget_v2p1.add(gdstk.Reference(ls_fakejj_1p5x1p5um, (60,30)))
lsmitll_merget_v2p1.add(gdstk.Reference(ls_fakejj_1p5x1p5um, (50,30)))
lsmitll_merget_v2p1.add(gdstk.Reference(ls_fakejj_3x3um, (55,21.8)))
lsmitll_merget_v2p1.add(gdstk.Reference(ls_conn_m4m5m6m7, (56.7,26.35), rotation=pi))
lsmitll_merget_v2p1.add(gdstk.Reference(ls_conn_m4m5m6m7, (49.275,23.375), rotation=pi/2))
lsmitll_merget_v2p1.add(gdstk.Reference(ls_conn_m4m5m6m7, (49.275,13.375), rotation=pi/2))
lsmitll_merget_v2p1.add(gdstk.Reference(ls_tr_m7, (60,20)))
lsmitll_merget_v2p1.add(gdstk.Reference(ls_fakejj_1p5x1p5um, (50,20)))
lsmitll_merget_v2p1.add(gdstk.Reference(ls_fakejj_1p5x1p5um, (60,20)))
lsmitll_merget_v2p1.add(gdstk.Reference(ls_fakejj_1p5x1p5um, (60,10)))
lsmitll_merget_v2p1.add(gdstk.Reference(ls_fakejj_1p5x1p5um, (50,10)))
lsmitll_merget_v2p1.add(gdstk.Reference(ls_fakejj_1p5x1p5um, (40,10)))
lsmitll_merget_v2p1.add(gdstk.Reference(ls_tr_m7, (50,20)))
lsmitll_merget_v2p1.add(gdstk.Reference(ls_tr_m7, (40,20)))
lsmitll_merget_v2p1.add(gdstk.Reference(ls_res_1p36, (65,19.5)))
lsmitll_merget_v2p1.add(gdstk.Reference(ls_fakejj_3x3um, (42.8,5)))
lsmitll_merget_v2p1.add(gdstk.Reference(ls_fakejj_3x3um, (51.2,5)))
lsmitll_merget_v2p1.add(gdstk.Reference(ls_fakejj_3x3um, (63.8,5)))
lsmitll_merget_v2p1.add(gdstk.Reference(ls_fakejj_3x3um, (38.6,5)))
lsmitll_merget_v2p1.add(gdstk.Reference(ls_fakejj_3x3um, (59.6,5)))
lsmitll_merget_v2p1.add(gdstk.Reference(ls_fakejj_3x3um, (55,13.4)))
lsmitll_merget_v2p1.add(gdstk.Reference(ls_fakejj_3x3um, (55,17.6)))
lsmitll_merget_v2p1.add(gdstk.Reference(ls_fakejj_3x3um, (55,9.2)))
lsmitll_merget_v2p1.add(gdstk.Label('b', (15,15), layer=182, texttype=0))
lsmitll_merget_v2p1.add(gdstk.Label('a', (15,55), layer=182, texttype=0))
lsmitll_merget_v2p1.add(gdstk.Label('P1 M6 M4', (18.2,54.875), layer=182, texttype=0))
lsmitll_merget_v2p1.add(gdstk.Label('J1 M6 M5', (24.85,54.975), layer=182, texttype=0))
lsmitll_merget_v2p1.add(gdstk.Label('J2 M6 M5', (35.1,43.6), layer=182, texttype=0))
lsmitll_merget_v2p1.add(gdstk.Label('J3 M6 M5', (35.025,39.175), layer=182, texttype=0))
lsmitll_merget_v2p1.add(gdstk.Label('J4 M6 M5', (24.875,15.05), layer=182, texttype=0))
lsmitll_merget_v2p1.add(gdstk.Label('J5 M6 M5', (35.1,26.4), layer=182, texttype=0))
lsmitll_merget_v2p1.add(gdstk.Label('J6 M6 M5', (35.025,30.85), layer=182, texttype=0))
lsmitll_merget_v2p1.add(gdstk.Label('J7 M6 M5', (54.575,35.075), layer=182, texttype=0))
lsmitll_merget_v2p1.add(gdstk.Label('J8 M6 M5', (65.15,25.4), layer=182, texttype=0))
lsmitll_merget_v2p1.add(gdstk.Label('P3 M6 M4', (64.99,22.065), layer=182, texttype=0))
lsmitll_merget_v2p1.add(gdstk.Label('P2 M6 M4', (18.3,15.075), layer=182, texttype=0))
lsmitll_merget_v2p1.add(gdstk.Label('PB1 M6 M4', (22.405,45.095), layer=182, texttype=0))
lsmitll_merget_v2p1.add(gdstk.Label('PB2 M6 M4', (22.42,24.9), layer=182, texttype=0))
lsmitll_merget_v2p1.add(gdstk.Label('PB3 M6 M4', (23.495,35.05), layer=182, texttype=0))
lsmitll_merget_v2p1.add(gdstk.Label('PB4 M6 M4', (65.145,52.24), layer=182, texttype=0))
lsmitll_merget_v2p1.add(gdstk.Label('q', (65,15), layer=182, texttype=0))
lsmitll_merget_v2p1.add(gdstk.Label('bias_in', (65,70), layer=182, texttype=0))
lsmitll_merget_v2p1.add(gdstk.Label('VDD', (65.077,68.173), layer=50, texttype=1))
lsmitll_merget_v2p1.add(gdstk.Label('RB8', (62.163,25.443), layer=52, texttype=1))
lsmitll_merget_v2p1.add(gdstk.Label('RB1', (24.849,58.032), layer=52, texttype=1))
lsmitll_merget_v2p1.add(gdstk.Label('RB2', (35.036,46.726), layer=52, texttype=1))
lsmitll_merget_v2p1.add(gdstk.Label('RB3', (38.943,39.076), layer=52, texttype=1))
lsmitll_merget_v2p1.add(gdstk.Label('RB4', (24.648,11.89), layer=52, texttype=1))
lsmitll_merget_v2p1.add(gdstk.Label('RB5', (35.097,23.271), layer=52, texttype=1))
lsmitll_merget_v2p1.add(gdstk.Label('RB6', (38.615,30.816), layer=52, texttype=1))
lsmitll_merget_v2p1.add(gdstk.Label('RB7', (54.531,31.706), layer=52, texttype=1))
lsmitll_merget_v2p1.add(gdstk.Label('RD', (65.107,21.081), layer=52, texttype=1))
lsmitll_merget_v2p1.add(gdstk.Label('RIB1', (17.358,45.185), layer=52, texttype=1))
lsmitll_merget_v2p1.add(gdstk.Label('RIB2', (17.584,24.936), layer=52, texttype=1))
lsmitll_merget_v2p1.add(gdstk.Label('RIB3', (20.631,35.069), layer=52, texttype=1))
lsmitll_merget_v2p1.add(gdstk.Label('RIB4', (65.154,56.461), layer=52, texttype=1))
lsmitll_merget_v2p1.add(gdstk.Label('GND', (66.372,68.267), layer=40, texttype=1))
lsmitll_merget_v2p1.add(gdstk.Label('b', (15.005,15.002), layer=60, texttype=1))
lsmitll_merget_v2p1.add(gdstk.Label('a', (15.012,55.03), layer=60, texttype=1))
lsmitll_merget_v2p1.add(gdstk.Label('q', (65.003,15.006), layer=60, texttype=1))

lib.write_gds('LSmitll_MERGET_v2p1.gds')
